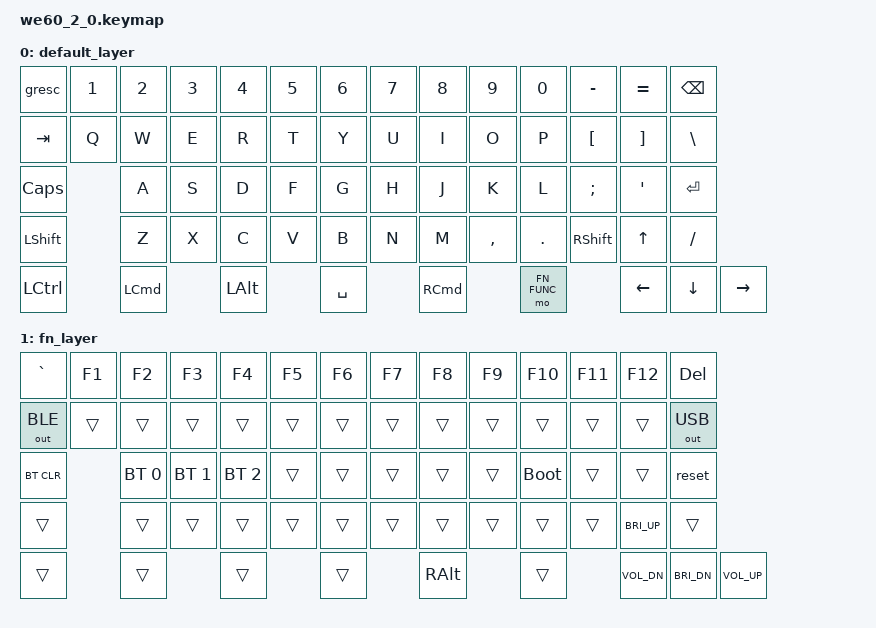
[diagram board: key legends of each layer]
#include <behaviors.dtsi>
#include <dt-bindings/zmk/keys.h>
#include <dt-bindings/zmk/outputs.h>
#include <dt-bindings/zmk/bt.h>

#define DEFAULT	0
#define FN_FUNC	1

/ {
	keymap {
		compatible = "zmk,keymap";
		default_layer {
			bindings = <
	&gresc    &kp N1    &kp N2    &kp N3    &kp N4    &kp N5    &kp N6    &kp N7    &kp N8    &kp N9    &kp N0    &kp MINUS &kp EQUAL &kp BSPC  
	&kp TAB   &kp Q     &kp W     &kp E     &kp R     &kp T     &kp Y     &kp U     &kp I     &kp O     &kp P     &kp LBKT  &kp RBKT  &kp BSLH  
	&kp CAPS            &kp A     &kp S     &kp D     &kp F     &kp G     &kp H     &kp J     &kp K     &kp L     &kp SEMI  &kp APOS  &kp ENTER 
	&kp LSHFT           &kp Z     &kp X     &kp C     &kp V     &kp B     &kp N     &kp M     &kp COMMA &kp DOT   &kp RSHFT &kp UP    &kp FSLH  
	&kp LCTRL           &kp LCMD            &kp LALT            &kp SPACE           &kp RCMD            &mo FN_FUNC         &kp LEFT  &kp DOWN  &kp RIGHT
			>;
		};
		fn_layer {
			bindings = <
	&kp GRAVE &kp F1    &kp F2    &kp F3    &kp F4    &kp F5    &kp F6    &kp F7    &kp F8    &kp F9    &kp F10   &kp F11   &kp F12   &kp DEL   
	&out OUT_BLE    &trans    &trans    &trans    &trans    &trans    &trans    &trans    &trans    &trans    &trans    &trans    &trans    &out OUT_USB    
	&bt BT_CLR                  &bt BT_SEL 0    &bt BT_SEL 1    &bt BT_SEL 2    &trans    &trans    &trans    &trans    &trans    &bootloader    &trans    &trans    &reset    
	&trans              &trans    &trans    &trans    &trans    &trans    &trans    &trans    &trans    &trans    &trans    &kp C_BRI_UP    &trans    
	&trans              &trans              &trans              &trans              &kp RALT            &trans              &kp C_VOL_DN    &kp C_BRI_DN   &kp C_VOL_UP
			>;
		};
	};
};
